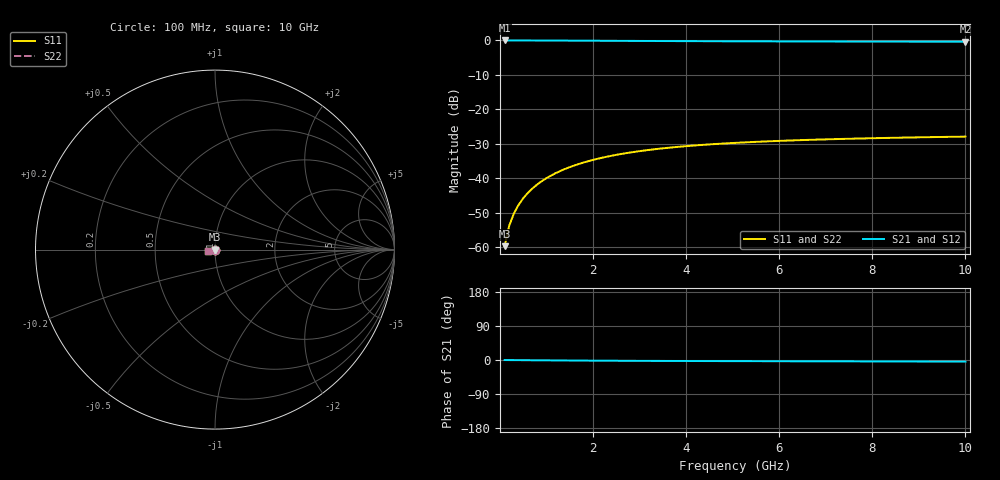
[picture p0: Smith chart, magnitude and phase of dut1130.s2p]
! Touchstone file exported from HFSS 2024.1.0
!  File:  C:/UserFiles/LocalFiles/RDL_TSV_Batchsim/temp_TSV1_1130_1780069975.aedt
!  Generated:  11:58:13 PM May 29, 2026
!  Design:  TSV1
!  Project:  temp_TSV1_1130_1780069975
!  Setup:  Setup1
!  Solution:  Sweep
! Variables:
!  dtsv = 9.69um
!  hbump = 3um
!  htsv = 65.73um
!  lrdl = 252.1521522um
!  p = 40
!  p1 = 41.49um
!  t = 500um
!  trdl = 3um
!  wrdl = 24.89489489um
# GHz S MA R 50.000000
! Terminal data exported
! Port[1] = TSV22_T1
! Port[2] = TSV22_T2
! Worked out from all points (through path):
!   100 points, 100 MHz to 10 GHz, reference 50 ohm
!   highest |S21| = 0.00 dB at 100 MHz (marker M1); lowest = -0.4 dB at 10 GHz (marker M2)
!   lowest |S11| = -59.7 dB at 100 MHz (marker M3), VSWR 1.00, Z = 50 - j0.103 ohm
!   |S11| at or under -10 dB: start of sweep to end of sweep
!   |S22| runs from -59.7 to -27.9 dB; largest |S21 - S12| = 5.7e-15
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0.1  0.001032 -83.7  0.9998 -0.1  0.9998 -0.1  0.001032 -83.7
! Gamma 0 0 0 0
! Port Impedance 50 0 50 0
0.2  0.002054 -88.9  0.9997 -0.2  0.9997 -0.2  0.002054 -88.9
0.3  0.00308 -91.7  0.9996 -0.3  0.9996 -0.3  0.00308 -91.7
0.4  0.004104 -93.9  0.9994 -0.4  0.9994 -0.4  0.004104 -93.9
0.5  0.005121 -95.9  0.9991 -0.5  0.9991 -0.5  0.005121 -95.9
0.6  0.006129 -97.7  0.9988 -0.6  0.9988 -0.6  0.006129 -97.7
0.7  0.007124 -99.4  0.9984 -0.7  0.9984 -0.7  0.007124 -99.4
0.8  0.008107 -101.1  0.998 -0.8  0.998 -0.8  0.008107 -101.1
0.9  0.009074 -102.7  0.9976 -0.9  0.9976 -0.9  0.009074 -102.7
1.1  0.01096 -105.8  0.9966 -1.0  0.9966 -1.0  0.01096 -105.8
1.4  0.01364 -110.3  0.9948 -1.3  0.9948 -1.3  0.01364 -110.3
1.6  0.01533 -113.1  0.9936 -1.4  0.9936 -1.4  0.01533 -113.1
1.8  0.01693 -115.8  0.9922 -1.6  0.9922 -1.6  0.01693 -115.8
2.1  0.01916 -119.6  0.9901 -1.8  0.9901 -1.8  0.01916 -119.6
2.5  0.02184 -124.4  0.9872 -2.0  0.9872 -2.0  0.02184 -124.4
2.9  0.02418 -128.7  0.9845 -2.2  0.9845 -2.2  0.02418 -128.7
3.4  0.0267 -133.6  0.9812 -2.4  0.9812 -2.4  0.0267 -133.6
4.2  0.02995 -140.3  0.9765 -2.7  0.9765 -2.7  0.02995 -140.3
5.1  0.03272 -146.7  0.9722 -3.0  0.9722 -3.0  0.03272 -146.7
6.7  0.03615 -155.6  0.9664 -3.4  0.9664 -3.4  0.03615 -155.6
8.4  0.03857 -163.0  0.9622 -3.9  0.9622 -3.9  0.03857 -163.0
10  0.04018 -168.7  0.9594 -4.3  0.9594 -4.3  0.04018 -168.7
